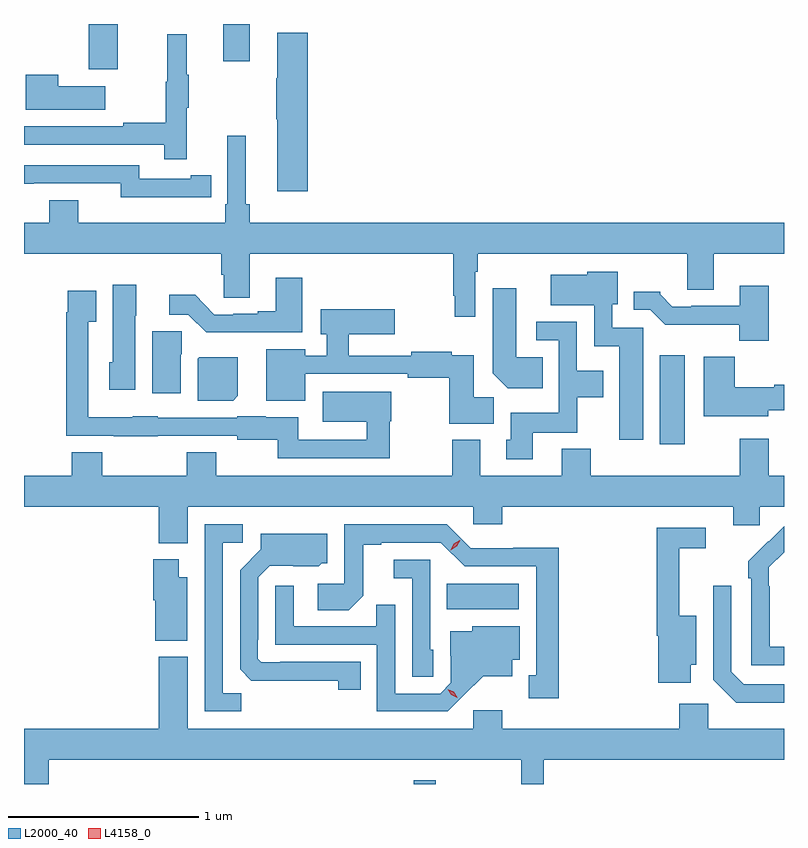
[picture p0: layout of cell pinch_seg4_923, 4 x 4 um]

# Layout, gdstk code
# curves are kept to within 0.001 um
import gdstk
lib = gdstk.Library(unit=1e-6, precision=1e-09)
def R(c, l, rs):  # rectangles x0, y0, x1, y1
    for r in rs: c.add(gdstk.rectangle(r[:2], r[2:], *l))
def P(c, l, *ps):  # polygons
    for p in ps: c.add(gdstk.Polygon(p, *l))
L2000_40 = (2000, 40)
L4158_0 = (4158, 0)

pinch_seg4_923 = lib.new_cell('pinch_seg4_923')
R(pinch_seg4_923, L2000_40, [(663.334,799.357,663.45,799.378), (663.508,800.276,663.889,800.41), (664.631,801.144,664.762,801.613), (661.625,803.118,661.777,803.357), (662.333,803.16,662.473,803.357)])
P(pinch_seg4_923, L2000_40, [(662.777,803.311),(662.618,803.311),(662.618,803.072),(662.611,803.072),(662.611,802.855),(662.618,802.855),(662.618,802.476),(662.777,802.476)],
  [(662.141,802.915),(662.152,802.915),(662.152,803.089),(662.141,803.089),(662.141,803.302),(662.038,803.302),(662.038,803.052),(662.031,803.052),(662.031,802.838),(661.807,802.838),(661.807,802.818),(661.284,802.818),(661.284,802.722),(662.023,802.722),(662.023,802.644),(662.141,802.644)],
  [(661.711,803.029),(661.463,803.029),(661.463,803.089),(661.292,803.089),(661.292,802.907),(661.711,802.907)],
  [(663.66,802.052),(663.673,802.052),(663.673,802.148),(664.775,802.148),(664.775,801.958),(664.915,801.958),(664.915,802.148),(665.284,802.148),(665.284,802.312),(662.471,802.312),(662.471,802.408),(662.452,802.408),(662.452,802.768),(662.355,802.768),(662.355,802.408),(662.342,802.408),(662.342,802.312),(661.57,802.312),(661.57,802.429),(661.418,802.429),(661.418,802.312),(661.284,802.312),(661.284,802.148),(662.321,802.148),(662.321,802.038),(662.334,802.038),(662.334,801.916),(662.473,801.916),(662.473,802.148),(663.544,802.148),(663.544,801.928),(663.552,801.928),(663.552,801.816),(663.66,801.816)],
  [(662.162,802.446),(662.27,802.446),(662.27,802.562),(662.162,802.562),(662.162,802.542),(661.89,802.542),(661.89,802.614),(661.284,802.614),(661.284,802.517),(661.334,802.517),(661.334,802.518),(661.794,802.518),(661.794,802.445),(662.162,802.445)],
  [(664.543,801.759),(664.38,801.759),(664.38,801.882),(664.408,801.882),(664.408,802.054),(664.248,802.054),(664.248,802.036),(664.056,802.036),(664.056,801.878),(664.284,801.878),(664.284,801.662),(664.418,801.662),(664.418,801.168),(664.543,801.168)],
  [(662.749,802.021),(662.609,802.021),(662.609,801.844),(662.513,801.844),(662.513,801.831),(662.386,801.831),(662.386,801.828),(662.286,801.828),(662.184,801.931),(662.049,801.931),(662.049,801.828),(662.148,801.828),(662.243,801.734),(662.749,801.734)],
  [(661.87,801.822),(661.876,801.822),(661.876,801.985),(661.751,801.985),(661.751,801.576),(661.733,801.576),(661.733,801.432),(661.87,801.432)],
  [(665.204,801.979),(665.051,801.979),(665.051,801.873),(664.795,801.873),(664.795,801.87),(664.696,801.87),(664.632,801.934),(664.632,801.949),(664.493,801.949),(664.493,801.852),(664.581,801.852),(664.66,801.774),(665.049,801.774),(665.049,801.689),(665.204,801.689)],
  [(664.013,801.604),(663.874,801.604),(663.874,801.967),(663.752,801.967),(663.752,801.518),(663.83,801.44),(664.013,801.44)],
  [(663.208,801.267),(663.216,801.267),(663.216,801.421),(662.856,801.421),(662.856,801.263),(663.087,801.263),(663.087,801.168),(662.727,801.168),(662.727,801.286),(662.556,801.286),(662.556,801.292),(662.406,801.292),(662.406,801.285),(661.989,801.285),(661.989,801.292),(661.857,801.292),(661.857,801.286),(661.623,801.286),(661.623,801.791),(661.663,801.791),(661.663,801.952),(661.515,801.952),(661.515,801.839),(661.507,801.839),(661.507,801.189),(661.757,801.189),(661.757,801.188),(661.989,801.188),(661.989,801.189),(662.406,801.189),(662.406,801.17),(662.619,801.17),(662.619,801.072),(663.208,801.072)],
  [(663.757,801.392),(663.652,801.392),(663.652,801.614),(663.536,801.614),(663.536,801.632),(663.322,801.632),(663.322,801.612),(662.993,801.612),(662.993,801.725),(663.235,801.725),(663.235,801.855),(662.846,801.855),(662.846,801.725),(662.877,801.725),(662.877,801.612),(662.764,801.612),(662.764,801.646),(662.558,801.646),(662.558,801.374),(662.764,801.374),(662.764,801.516),(663.304,801.516),(663.304,801.496),(663.523,801.496),(663.523,801.254),(663.757,801.254)],
  [(663.961,801.206),(664.197,801.206),(664.197,801.392),(664.333,801.392),(664.333,801.532),(664.194,801.532),(664.194,801.789),(663.981,801.789),(663.981,801.693),(664.098,801.693),(664.098,801.31),(663.845,801.31),(663.845,801.168),(663.821,801.168),(663.821,801.066),(663.961,801.066)],
  [(662.11,801.618),(662.114,801.618),(662.114,801.741),(661.958,801.741),(661.958,801.414),(662.11,801.414)],
  [(665.2,801.323),(665.284,801.323),(665.284,801.458),(665.232,801.458),(665.232,801.445),(665.024,801.445),(665.024,801.607),(664.862,801.607),(664.862,801.293),(665.2,801.293)],
  [(662.41,801.4),(662.41,801.604),(662.206,801.604),(662.198,801.596),(662.198,801.374),(662.384,801.374)],
  [(662.146,800.816),(663.648,800.816),(663.648,800.723),(663.8,800.723),(663.8,800.816),(665.018,800.816),(665.018,800.718),(665.157,800.718),(665.157,800.816),(665.284,800.816),(665.284,800.98),(665.204,800.98),(665.204,801.175),(665.051,801.175),(665.051,800.98),(664.268,800.98),(664.268,801.121),(664.115,801.121),(664.115,800.98),(663.685,800.98),(663.685,801.169),(663.538,801.169),(663.538,800.98),(662.295,800.98),(662.295,801.104),(662.14,801.104),(662.14,800.98),(661.695,800.98),(661.695,801.104),(661.535,801.104),(661.535,800.98),(661.284,800.98),(661.284,800.816),(661.994,800.816),(661.994,800.624),(662.146,800.624)],
  [(664.099,800.6),(663.858,800.6),(663.858,800.598),(663.636,800.598),(663.51,800.724),(662.97,800.724),(662.97,800.412),(662.829,800.412),(662.829,800.272),(662.993,800.272),(663.069,800.348),(663.069,800.616),(663.163,800.616),(663.163,800.628),(663.477,800.628),(663.603,800.502),(663.98,800.502),(663.98,799.929),(663.941,799.929),(663.941,799.809),(664.099,799.809)],
  [(662.427,799.835),(662.331,799.835),(662.331,800.628),(662.434,800.628),(662.434,800.724),(662.235,800.724),(662.235,799.74),(662.427,799.74)],
  [(665.284,800.079),(665.208,800.079),(665.208,800.399),(665.205,800.399),(665.205,800.499),(665.284,800.578),(665.284,800.714),(665.097,800.529),(665.097,800.441),(665.112,800.441),(665.112,799.983),(665.284,799.983)],
  [(664.792,799.985),(664.822,799.985),(664.822,800.242),(664.733,800.242),(664.733,800.598),(664.873,800.598),(664.873,800.706),(664.615,800.706),(664.615,800.138),(664.622,800.138),(664.622,799.89),(664.792,799.89)],
  [(663.056,800.001),(662.632,800.001),(662.632,799.998),(662.532,799.998),(662.514,800.016),(662.514,800.116),(662.517,800.116),(662.517,800.445),(662.577,800.505),(662.834,800.504),(662.85,800.52),(662.881,800.52),(662.881,800.674),(662.531,800.674),(662.531,800.592),(662.421,800.482),(662.421,799.96),(662.48,799.901),(662.938,799.9),(662.938,799.854),(663.056,799.854)],
  [(662.143,800.446),(662.098,800.446),(662.098,800.539),(661.964,800.539),(661.964,800.325),(661.976,800.325),(661.976,800.111),(662.143,800.111)],
  [(663.438,800.064),(663.423,800.064),(663.423,800.538),(663.231,800.538),(663.231,800.441),(663.327,800.441),(663.327,799.921),(663.438,799.921)],
  [(665.284,799.881),(665.073,799.881),(665.007,799.947),(665.007,800.401),(664.911,800.401),(664.911,799.905),(665.032,799.784),(665.284,799.784)],
  [(663.598,799.823),(663.701,799.925),(663.853,799.925),(663.853,800.012),(663.892,800.012),(663.892,800.188),(663.642,800.188),(663.642,800.161),(663.527,800.161),(663.527,800.032),(663.531,800.032),(663.531,799.89),(663.474,799.833),(663.237,799.833),(663.237,800.3),(663.139,800.3),(663.139,800.187),(662.703,800.187),(662.703,800.401),(662.607,800.401),(662.607,800.091),(663.141,800.091),(663.141,799.74),(663.514,799.74)],
  [(661.415,799.484),(663.902,799.484),(663.902,799.357),(664.019,799.357),(664.019,799.484),(665.284,799.484),(665.284,799.648),(664.884,799.648),(664.884,799.78),(664.733,799.78),(664.733,799.648),(663.8,799.648),(663.8,799.744),(663.648,799.744),(663.648,799.648),(662.146,799.648),(662.146,800.026),(661.994,800.026),(661.994,799.648),(661.284,799.648),(661.284,799.357),(661.415,799.357)])
P(pinch_seg4_923, L4158_0, [(663.563,799.812),(663.532,799.827),(663.514,799.857),(663.514,799.857),(663.514,799.857),(663.545,799.842),(663.563,799.813),(663.563,799.812)],
  [(663.53,800.588),(663.53,800.589),(663.547,800.622),(663.578,800.641),(663.579,800.641),(663.579,800.64),(663.561,800.608),(663.53,800.588)])

lib.write_gds('pinch_seg4_923.gds')
